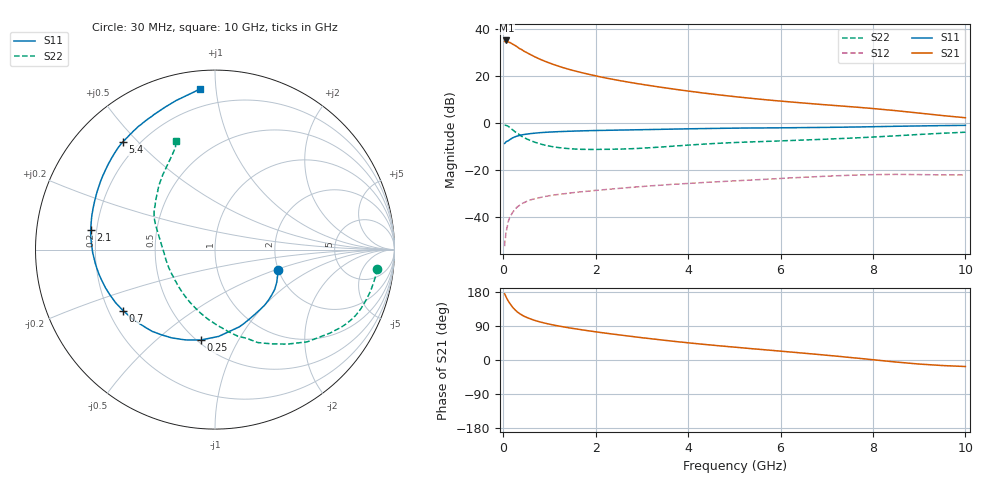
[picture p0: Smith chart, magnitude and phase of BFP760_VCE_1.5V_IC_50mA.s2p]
! Infineon Technologies  Discrete & RF Semiconductors
! BFP760
! VCE =  1.5 V,  IC =  50 mA
! Common Emitter S-Parameters:  Nov 2012
# GHz  S  MA  R  50
!  f  S11  S21  S12  S22
! GHz  MAG  ANG  MAG  ANG  MAG  ANG  MAG  ANG
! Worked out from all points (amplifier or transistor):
!   99 points, 30 MHz to 10 GHz, reference 50 ohm
!   highest |S21| = 35.2 dB at 70 MHz (marker M1)
!   |S21| within 3 dB of that: start of sweep to 320.5 MHz
!   unconditionally stable (mu >= 1): 3.241 GHz to end of sweep
!   at 350 MHz: K = 0.38, MSG = 33.4 dB, |S12| = -35.0 dB
!   at 3.5 GHz: K = 1.02, MAG = 19.8 dB, |S12| = -26.3 dB
!   at 10 GHz: K = 1.09, MAG = 10.4 dB, |S12| = -22.1 dB
!   S11 on the Smith chart (normalised r, x): 30 MHz: 2.00, -0.52; 250 MHz: 0.52, -0.71; 700 MHz: 0.26, -0.28; 2.1 GHz: 0.18, +0.07; 5.4 GHz: 0.14, +0.45; 10 GHz: 0.10, +0.90
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0.03  0.3707 -17.7  55.03 174.5  0.0024 83.1  0.9087 -6.7
0.04  0.3779 -22.8  55.73 172.7  0.0034 86.6  0.9073 -9.3
0.05  0.3893 -27.9  57.41 169.6  0.0037 77.7  0.9017 -12.1
0.07  0.4049 -38.7  57.76 164.3  0.0051 75.0  0.891 -17.2
0.1  0.4182 -53.2  55.03 157.4  0.0075 74.5  0.8656 -25.0
0.15  0.4512 -72.5  52.03 148.1  0.0101 65.5  0.7917 -36.0
0.2  0.4841 -87.6  48.39 139.7  0.0124 61.5  0.726 -45.1
0.25  0.5102 -99.0  45.63 133.1  0.0145 58.3  0.6628 -52.6
0.35  0.5479 -116.2  38.89 122.8  0.0177 52.5  0.5701 -65.3
0.45  0.5746 -127.6  34.07 115.5  0.0203 48.6  0.4999 -75.1
0.6  0.6006 -140.0  28.53 107.9  0.0234 44.7  0.4214 -88.4
0.7  0.6148 -146.5  25.41 103.8  0.0248 42.8  0.3882 -96.1
0.9  0.6373 -156.6  20.88 97.3  0.0274 40.2  0.3402 -109.7
1.1  0.653 -164.4  17.61 92.0  0.0295 38.6  0.3113 -121.3
1.7  0.6855 179.1  11.91 79.7  0.0346 37.1  0.277 -147.3
2.1  0.7006 171.2  9.696 72.7  0.0376 36.5  0.2767 -159.9
3.4  0.7386 150.6  5.849 53.3  0.0477 35.3  0.31 170.4
5.1  0.7851 132.8  3.598 32.9  0.0597 31.6  0.3903 150.5
5.4  0.7899 130.6  3.356 29.6  0.0618 30.7  0.4005 147.9
6.7  0.8085 121.6  2.588 15.9  0.0719 26.2  0.4449 136.8
8.5  0.8584 104.6  1.844 -5.4  0.0811 14.5  0.5379 119.8
10  0.8985 95.5  1.305 -17.2  0.0788 9.5  0.6416 109.7
